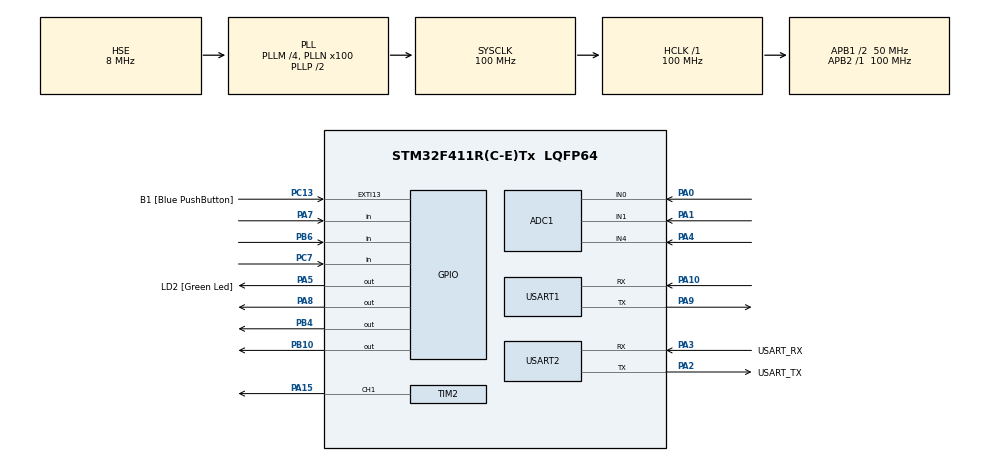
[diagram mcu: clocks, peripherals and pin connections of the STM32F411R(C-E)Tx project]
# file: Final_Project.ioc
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ADC1.Channel-0\#ChannelRegularConversion=ADC_CHANNEL_0
ADC1.Channel-3\#ChannelRegularConversion=ADC_CHANNEL_1
ADC1.Channel-4\#ChannelRegularConversion=ADC_CHANNEL_4
ADC1.NbrOfConversion=3
ADC1.NbrOfConversionFlag=1
ADC1.Rank-0\#ChannelRegularConversion=1
ADC1.Rank-3\#ChannelRegularConversion=2
ADC1.Rank-4\#ChannelRegularConversion=3
ADC1.SamplingTime-0\#ChannelRegularConversion=ADC_SAMPLETIME_3CYCLES
ADC1.SamplingTime-3\#ChannelRegularConversion=ADC_SAMPLETIME_3CYCLES
ADC1.SamplingTime-4\#ChannelRegularConversion=ADC_SAMPLETIME_3CYCLES
ADC1.ScanConvMode=ENABLE
ADC1.master=1
FREERTOS.Tasks01=defaultTask,0,128,StartDefaultTask,Default,NULL,Dynamic,NULL,NULL;myTask02,-3,128,StartTask02,Default,NULL,Dynamic,NULL,NULL
Mcu.Family=STM32F4
Mcu.Name=STM32F411R(C-E)Tx
Mcu.Package=LQFP64
NVIC.PriorityGroup=NVIC_PRIORITYGROUP_4
NVIC.USART1_IRQn=true\:5\:0\:false\:false\:true\:true\:true\:true\:true
PA0-WKUP.Signal=ADCx_IN0
PA1.Signal=ADCx_IN1
PA10.Mode=Asynchronous
PA10.Signal=USART1_RX
PA13.GPIO_Label=TMS
PA13.Mode=Serial_Wire
PA13.Signal=SYS_JTMS-SWDIO
PA14.GPIO_Label=TCK
PA14.Mode=Serial_Wire
PA14.Signal=SYS_JTCK-SWCLK
PA15.Signal=S_TIM2_CH1_ETR
PA2.GPIO_Label=USART_TX
PA2.Mode=Asynchronous
PA2.Signal=USART2_TX
PA3.GPIO_Label=USART_RX
PA3.Mode=Asynchronous
PA3.Signal=USART2_RX
PA4.Signal=ADCx_IN4
PA5.GPIO_Label=LD2 [Green Led]
PA5.Signal=GPIO_Output
PA7.Signal=GPIO_Input
PA8.Signal=GPIO_Output
PA9.Mode=Asynchronous
PA9.Signal=USART1_TX
PB10.Signal=GPIO_Output
PB3.GPIO_Label=SWO
PB3.Signal=SYS_JTDO-SWO
PB4.Signal=GPIO_Output
PB6.Signal=GPIO_Input
PC13-ANTI_TAMP.GPIO_Label=B1 [Blue PushButton]
PC13-ANTI_TAMP.GPIO_ModeDefaultEXTI=GPIO_MODE_IT_FALLING
PC13-ANTI_TAMP.Signal=GPXTI13
PC14-OSC32_IN.Mode=LSE-External-Oscillator
PC14-OSC32_IN.Signal=RCC_OSC32_IN
PC15-OSC32_OUT.Mode=LSE-External-Oscillator
PC15-OSC32_OUT.Signal=RCC_OSC32_OUT
PC7.Signal=GPIO_Input
PH0\ -\ OSC_IN.Mode=HSE-External-Oscillator
PH0\ -\ OSC_IN.Signal=RCC_OSC_IN
PH1\ -\ OSC_OUT.Mode=HSE-External-Oscillator
PH1\ -\ OSC_OUT.Signal=RCC_OSC_OUT
ProjectManager.HeapSize=0x200
ProjectManager.StackSize=0x400
ProjectManager.TargetToolchain=STM32CubeIDE
RCC.48MHZClocksFreq_Value=50000000
RCC.AHBFreq_Value=100000000
RCC.APB1CLKDivider=RCC_HCLK_DIV2
RCC.APB1Freq_Value=50000000
RCC.APB1TimFreq_Value=100000000
RCC.APB2Freq_Value=100000000
RCC.APB2TimFreq_Value=100000000
RCC.CortexFreq_Value=100000000
RCC.FLatency-AdvancedSettings=FLASH_LATENCY_3
RCC.HCLKFreq_Value=100000000
RCC.HSE_VALUE=8000000
RCC.HSI_VALUE=16000000
RCC.PLLM=4
RCC.PLLN=100
RCC.PLLSourceVirtual=RCC_PLLSOURCE_HSE
RCC.SYSCLKFreq_VALUE=100000000
RCC.SYSCLKSource=RCC_SYSCLKSOURCE_PLLCLK
RCC.VCOOutputFreq_Value=200000000
SH.ADCx_IN0.0=ADC1_IN0,IN0
SH.ADCx_IN1.0=ADC1_IN1,IN1
SH.ADCx_IN4.0=ADC1_IN4,IN4
SH.S_TIM2_CH1_ETR.0=TIM2_CH1,PWM Generation1 CH1
TIM1.Prescaler=100-1
TIM2.Channel-PWM\ Generation1\ CH1=TIM_CHANNEL_1
TIM2.Period=99
TIM2.Prescaler=83
USART1.VirtualMode=VM_ASYNC
USART2.VirtualMode=VM_ASYNC
VP_FREERTOS_VS_CMSIS_V1.Mode=CMSIS_V1
VP_TIM1_VS_ClockSourceINT.Mode=Internal
VP_TIM2_VS_ClockSourceINT.Mode=Internal
board=NUCLEO-F411RE

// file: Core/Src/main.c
/* USER CODE BEGIN Header */
/**
  ******************************************************************************
  * @file           : main.c
  * @brief          : Main program body
  ******************************************************************************
  * @attention
  *
  * Copyright (c) 2024 STMicroelectronics.
  * All rights reserved.
  *
  * This software is licensed under terms that can be found in the LICENSE file
  * in the root directory of this software component.
  * If no LICENSE file comes with this software, it is provided AS-IS.
  *
  ******************************************************************************
  */
/* USER CODE END Header */
#include "main.h"
#include "cmsis_os.h"

/* USER CODE BEGIN Includes */
#include "stdio.h"
#include "string.h"
/* USER CODE END Includes */

ADC_HandleTypeDef hadc1;

TIM_HandleTypeDef htim1;
TIM_HandleTypeDef htim2;

UART_HandleTypeDef huart1;
UART_HandleTypeDef huart2;

osThreadId defaultTaskHandle;
osThreadId myTask02Handle;
/* USER CODE BEGIN PV */
char msg[256];
// LDR
uint32_t lux1 = 0;
uint32_t lux2 = 0;
uint32_t lux3 = 0;
uint32_t lux_threshold = 0;
uint8_t lux1State = 0;
uint8_t lux2State = 0;
uint8_t lux3State = 0;
// Ultrasonic
uint32_t distance1  = 0;
uint32_t distance2  = 0;
uint32_t distance3  = 0;
uint32_t dist_threshold  = 0;
uint8_t dist1State = 0;
uint8_t dist2State = 0;
uint8_t dist3State = 0;
// Logic
uint8_t pair1State = 0;
uint8_t pair2State = 0;
uint8_t pair3State = 0;

uint8_t presentState = 0;
uint8_t oldState = 0;
uint8_t RxState = 0;
uint16_t state1CycleCount = 0;
uint16_t sentCount = 0;

/* USER CODE END PV */

void SystemClock_Config(void);
static void MX_GPIO_Init(void);
static void MX_USART2_UART_Init(void);
static void MX_ADC1_Init(void);
static void MX_TIM1_Init(void);
static void MX_USART1_UART_Init(void);
static void MX_TIM2_Init(void);
void StartDefaultTask(void const * argument);
void StartTask02(void const * argument);

/* USER CODE BEGIN 0 */

void configureADCChannel(uint32_t channel) {
    ADC_ChannelConfTypeDef sConfig = {0};
    sConfig.Channel = channel;
    sConfig.Rank = 1;
    sConfig.SamplingTime = ADC_SAMPLETIME_28CYCLES;
    if (HAL_ADC_ConfigChannel(&hadc1, &sConfig) != HAL_OK) {
        Error_Handler();
    }
}

uint32_t readADCValue(uint32_t channel) {
    configureADCChannel(channel);
    HAL_ADC_Start(&hadc1);
    HAL_ADC_PollForConversion(&hadc1, 1000);
    uint32_t value = HAL_ADC_GetValue(&hadc1);
    HAL_ADC_Stop(&hadc1);

    return value;
}

uint32_t measureDistance(GPIO_TypeDef* trigPort, uint16_t trigPin, GPIO_TypeDef* echoPort, uint16_t echoPin) {
    uint32_t pMillis = HAL_GetTick();
    uint32_t val1, val2;

    // Trigger
    HAL_GPIO_WritePin(trigPort, trigPin, GPIO_PIN_SET);
    __HAL_TIM_SET_COUNTER(&htim1, 0);
    while (__HAL_TIM_GET_COUNTER(&htim1) < 10);
    HAL_GPIO_WritePin(trigPort, trigPin, GPIO_PIN_RESET);

    // Echo
    	// rising edge
    pMillis = HAL_GetTick();
    while (!(HAL_GPIO_ReadPin(echoPort, echoPin)) && pMillis + 10 > HAL_GetTick());
    val1 = __HAL_TIM_GET_COUNTER(&htim1);
    	// falling edge
    pMillis = HAL_GetTick();
    while ((HAL_GPIO_ReadPin(echoPort, echoPin)) && pMillis + 50 > HAL_GetTick());
    val2 = __HAL_TIM_GET_COUNTER(&htim1);

    return (val2 - val1) * 0.034 / 2; // distance in centimeters
}

void printUART2(const char* prefix, uint32_t value) {
    sprintf(msg, "%s: %d\r\n", prefix, value);
    HAL_UART_Transmit(&huart2, (uint8_t*)msg, strlen(msg), 1000);
}

void HAL_UART_TxCpltCallback(UART_HandleTypeDef *huart)
{
	sentCount++;
}

/* USER CODE END 0 */

int main(void)
{

  /* MCU Configuration--------------------------------------------------------*/

  /* Reset of all peripherals, Initializes the Flash interface and the Systick. */
  HAL_Init();

  /* Configure the system clock */
  SystemClock_Config();

  /* Initialize all configured peripherals */
  MX_GPIO_Init();
  MX_USART2_UART_Init();
  MX_ADC1_Init();
  MX_TIM1_Init();
  MX_USART1_UART_Init();
  MX_TIM2_Init();
  /* USER CODE BEGIN 2 */
  HAL_TIM_Base_Start(&htim1);
  HAL_TIM_PWM_Start(&htim2, TIM_CHANNEL_1);
  TIM2->CCR1 = 0;

  HAL_GPIO_WritePin(GPIOA, GPIO_PIN_8, GPIO_PIN_RESET);
  HAL_GPIO_WritePin(GPIOB, GPIO_PIN_10, GPIO_PIN_RESET);
  HAL_GPIO_WritePin(GPIOB, GPIO_PIN_4, GPIO_PIN_RESET);

  // initial 0 state
  HAL_UART_Transmit_IT(&huart1, &presentState, sizeof(presentState));

  /* USER CODE END 2 */

  /* Create the thread(s) */
  /* definition and creation of defaultTask */
  osThreadDef(defaultTask, StartDefaultTask, osPriorityNormal, 0, 128);
  defaultTaskHandle = osThreadCreate(osThread(defaultTask), NULL);

  /* definition and creation of myTask02 */
  osThreadDef(myTask02, StartTask02, osPriorityIdle, 0, 128);
  myTask02Handle = osThreadCreate(osThread(myTask02), NULL);

  /* Start scheduler */
  osKernelStart();

  /* We should never get here as control is now taken by the scheduler */
  /* Infinite loop */
  /* USER CODE BEGIN WHILE */
  while (1)
  {
	  // use Thread instead
    /* USER CODE END WHILE */

  }
}

void SystemClock_Config(void)
{
  RCC_OscInitTypeDef RCC_OscInitStruct = {0};
  RCC_ClkInitTypeDef RCC_ClkInitStruct = {0};

  /** Configure the main internal regulator output voltage
  */
  __HAL_RCC_PWR_CLK_ENABLE();
  __HAL_PWR_VOLTAGESCALING_CONFIG(PWR_REGULATOR_VOLTAGE_SCALE1);

  /** Initializes the RCC Oscillators according to the specified parameters
  * in the RCC_OscInitTypeDef structure.
  */
  RCC_OscInitStruct.OscillatorType = RCC_OSCILLATORTYPE_HSE;
  RCC_OscInitStruct.HSEState = RCC_HSE_ON;
  RCC_OscInitStruct.PLL.PLLState = RCC_PLL_ON;
  RCC_OscInitStruct.PLL.PLLSource = RCC_PLLSOURCE_HSE;
  RCC_OscInitStruct.PLL.PLLM = 4;
  RCC_OscInitStruct.PLL.PLLN = 100;
  RCC_OscInitStruct.PLL.PLLP = RCC_PLLP_DIV2;
  RCC_OscInitStruct.PLL.PLLQ = 4;
  if (HAL_RCC_OscConfig(&RCC_OscInitStruct) != HAL_OK)
  {
    Error_Handler();
  }

  /** Initializes the CPU, AHB and APB buses clocks
  */
  RCC_ClkInitStruct.ClockType = RCC_CLOCKTYPE_HCLK|RCC_CLOCKTYPE_SYSCLK
                              |RCC_CLOCKTYPE_PCLK1|RCC_CLOCKTYPE_PCLK2;
  RCC_ClkInitStruct.SYSCLKSource = RCC_SYSCLKSOURCE_PLLCLK;
  RCC_ClkInitStruct.AHBCLKDivider = RCC_SYSCLK_DIV1;
  RCC_ClkInitStruct.APB1CLKDivider = RCC_HCLK_DIV2;
  RCC_ClkInitStruct.APB2CLKDivider = RCC_HCLK_DIV1;

  if (HAL_RCC_ClockConfig(&RCC_ClkInitStruct, FLASH_LATENCY_3) != HAL_OK)
  {
    Error_Handler();
  }
}

static void MX_ADC1_Init(void)
{

  ADC_ChannelConfTypeDef sConfig = {0};

  /** Configure the global features of the ADC (Clock, Resolution, Data Alignment and number of conversion)
  */
  hadc1.Instance = ADC1;
  hadc1.Init.ClockPrescaler = ADC_CLOCK_SYNC_PCLK_DIV4;
  hadc1.Init.Resolution = ADC_RESOLUTION_12B;
  hadc1.Init.ScanConvMode = ENABLE;
  hadc1.Init.ContinuousConvMode = DISABLE;
  hadc1.Init.DiscontinuousConvMode = DISABLE;
  hadc1.Init.ExternalTrigConvEdge = ADC_EXTERNALTRIGCONVEDGE_NONE;
  hadc1.Init.ExternalTrigConv = ADC_SOFTWARE_START;
  hadc1.Init.DataAlign = ADC_DATAALIGN_RIGHT;
  hadc1.Init.NbrOfConversion = 3;
  hadc1.Init.DMAContinuousRequests = DISABLE;
  hadc1.Init.EOCSelection = ADC_EOC_SINGLE_CONV;
  if (HAL_ADC_Init(&hadc1) != HAL_OK)
  {
    Error_Handler();
  }

  /** Configure for the selected ADC regular channel its corresponding rank in the sequencer and its sample time.
  */
  sConfig.Channel = ADC_CHANNEL_0;
  sConfig.Rank = 1;
  sConfig.SamplingTime = ADC_SAMPLETIME_3CYCLES;
  if (HAL_ADC_ConfigChannel(&hadc1, &sConfig) != HAL_OK)
  {
    Error_Handler();
  }

  /** Configure for the selected ADC regular channel its corresponding rank in the sequencer and its sample time.
  */
  sConfig.Channel = ADC_CHANNEL_1;
  sConfig.Rank = 2;
  if (HAL_ADC_ConfigChannel(&hadc1, &sConfig) != HAL_OK)
  {
    Error_Handler();
  }

  /** Configure for the selected ADC regular channel its corresponding rank in the sequencer and its sample time.
  */
  sConfig.Channel = ADC_CHANNEL_4;
  sConfig.Rank = 3;
  if (HAL_ADC_ConfigChannel(&hadc1, &sConfig) != HAL_OK)
  {
    Error_Handler();
  }

}

static void MX_TIM1_Init(void)
{

  TIM_ClockConfigTypeDef sClockSourceConfig = {0};
  TIM_MasterConfigTypeDef sMasterConfig = {0};

  htim1.Instance = TIM1;
  htim1.Init.Prescaler = 100-1;
  htim1.Init.CounterMode = TIM_COUNTERMODE_UP;
  htim1.Init.Period = 65535;
  htim1.Init.ClockDivision = TIM_CLOCKDIVISION_DIV1;
  htim1.Init.RepetitionCounter = 0;
  htim1.Init.AutoReloadPreload = TIM_AUTORELOAD_PRELOAD_DISABLE;
  if (HAL_TIM_Base_Init(&htim1) != HAL_OK)
  {
    Error_Handler();
  }
  sClockSourceConfig.ClockSource = TIM_CLOCKSOURCE_INTERNAL;
  if (HAL_TIM_ConfigClockSource(&htim1, &sClockSourceConfig) != HAL_OK)
  {
    Error_Handler();
  }
  sMasterConfig.MasterOutputTrigger = TIM_TRGO_RESET;
  sMasterConfig.MasterSlaveMode = TIM_MASTERSLAVEMODE_DISABLE;
  if (HAL_TIMEx_MasterConfigSynchronization(&htim1, &sMasterConfig) != HAL_OK)
  {
    Error_Handler();
  }

}

static void MX_TIM2_Init(void)
{

  TIM_ClockConfigTypeDef sClockSourceConfig = {0};
  TIM_MasterConfigTypeDef sMasterConfig = {0};
  TIM_OC_InitTypeDef sConfigOC = {0};

  htim2.Instance = TIM2;
  htim2.Init.Prescaler = 83;
  htim2.Init.CounterMode = TIM_COUNTERMODE_UP;
  htim2.Init.Period = 99;
  htim2.Init.ClockDivision = TIM_CLOCKDIVISION_DIV1;
  htim2.Init.AutoReloadPreload = TIM_AUTORELOAD_PRELOAD_DISABLE;
  if (HAL_TIM_Base_Init(&htim2) != HAL_OK)
  {
    Error_Handler();
  }
  sClockSourceConfig.ClockSource = TIM_CLOCKSOURCE_INTERNAL;
  if (HAL_TIM_ConfigClockSource(&htim2, &sClockSourceConfig) != HAL_OK)
  {
    Error_Handler();
  }
  if (HAL_TIM_PWM_Init(&htim2) != HAL_OK)
  {
    Error_Handler();
  }
  sMasterConfig.MasterOutputTrigger = TIM_TRGO_RESET;
  sMasterConfig.MasterSlaveMode = TIM_MASTERSLAVEMODE_DISABLE;
  if (HAL_TIMEx_MasterConfigSynchronization(&htim2, &sMasterConfig) != HAL_OK)
  {
    Error_Handler();
  }
  sConfigOC.OCMode = TIM_OCMODE_PWM1;
  sConfigOC.Pulse = 0;
  sConfigOC.OCPolarity = TIM_OCPOLARITY_HIGH;
  sConfigOC.OCFastMode = TIM_OCFAST_DISABLE;
  if (HAL_TIM_PWM_ConfigChannel(&htim2, &sConfigOC, TIM_CHANNEL_1) != HAL_OK)
  {
    Error_Handler();
  }
  HAL_TIM_MspPostInit(&htim2);

}

static void MX_USART1_UART_Init(void)
{

  huart1.Instance = USART1;
  huart1.Init.BaudRate = 115200;
  huart1.Init.WordLength = UART_WORDLENGTH_8B;
  huart1.Init.StopBits = UART_STOPBITS_1;
  huart1.Init.Parity = UART_PARITY_NONE;
  huart1.Init.Mode = UART_MODE_TX_RX;
  huart1.Init.HwFlowCtl = UART_HWCONTROL_NONE;
  huart1.Init.OverSampling = UART_OVERSAMPLING_16;
  if (HAL_UART_Init(&huart1) != HAL_OK)
  {
    Error_Handler();
  }

}

static void MX_USART2_UART_Init(void)
{

  huart2.Instance = USART2;
  huart2.Init.BaudRate = 115200;
  huart2.Init.WordLength = UART_WORDLENGTH_8B;
  huart2.Init.StopBits = UART_STOPBITS_1;
  huart2.Init.Parity = UART_PARITY_NONE;
  huart2.Init.Mode = UART_MODE_TX_RX;
  huart2.Init.HwFlowCtl = UART_HWCONTROL_NONE;
  huart2.Init.OverSampling = UART_OVERSAMPLING_16;
  if (HAL_UART_Init(&huart2) != HAL_OK)
  {
    Error_Handler();
  }

}

static void MX_GPIO_Init(void)
{
  GPIO_InitTypeDef GPIO_InitStruct = {0};

  /* GPIO Ports Clock Enable */
  __HAL_RCC_GPIOC_CLK_ENABLE();
  __HAL_RCC_GPIOH_CLK_ENABLE();
  __HAL_RCC_GPIOA_CLK_ENABLE();
  __HAL_RCC_GPIOB_CLK_ENABLE();

  /*Configure GPIO pin Output Level */
  HAL_GPIO_WritePin(GPIOA, LD2_Pin|GPIO_PIN_8, GPIO_PIN_RESET);

  /*Configure GPIO pin Output Level */
  HAL_GPIO_WritePin(GPIOB, GPIO_PIN_10|GPIO_PIN_4, GPIO_PIN_RESET);

  /*Configure GPIO pin : B1_Pin */
  GPIO_InitStruct.Pin = B1_Pin;
  GPIO_InitStruct.Mode = GPIO_MODE_IT_FALLING;
  GPIO_InitStruct.Pull = GPIO_NOPULL;
  HAL_GPIO_Init(B1_GPIO_Port, &GPIO_InitStruct);

  /*Configure GPIO pins : LD2_Pin PA8 */
  GPIO_InitStruct.Pin = LD2_Pin|GPIO_PIN_8;
  GPIO_InitStruct.Mode = GPIO_MODE_OUTPUT_PP;
  GPIO_InitStruct.Pull = GPIO_NOPULL;
  GPIO_InitStruct.Speed = GPIO_SPEED_FREQ_LOW;
  HAL_GPIO_Init(GPIOA, &GPIO_InitStruct);

  /*Configure GPIO pin : PA7 */
  GPIO_InitStruct.Pin = GPIO_PIN_7;
  GPIO_InitStruct.Mode = GPIO_MODE_INPUT;
  GPIO_InitStruct.Pull = GPIO_NOPULL;
  HAL_GPIO_Init(GPIOA, &GPIO_InitStruct);

  /*Configure GPIO pins : PB10 PB4 */
  GPIO_InitStruct.Pin = GPIO_PIN_10|GPIO_PIN_4;
  GPIO_InitStruct.Mode = GPIO_MODE_OUTPUT_PP;
  GPIO_InitStruct.Pull = GPIO_NOPULL;
  GPIO_InitStruct.Speed = GPIO_SPEED_FREQ_LOW;
  HAL_GPIO_Init(GPIOB, &GPIO_InitStruct);

  /*Configure GPIO pin : PC7 */
  GPIO_InitStruct.Pin = GPIO_PIN_7;
  GPIO_InitStruct.Mode = GPIO_MODE_INPUT;
  GPIO_InitStruct.Pull = GPIO_NOPULL;
  HAL_GPIO_Init(GPIOC, &GPIO_InitStruct);

  /*Configure GPIO pin : PB6 */
  GPIO_InitStruct.Pin = GPIO_PIN_6;
  GPIO_InitStruct.Mode = GPIO_MODE_INPUT;
  GPIO_InitStruct.Pull = GPIO_NOPULL;
  HAL_GPIO_Init(GPIOB, &GPIO_InitStruct);

}

void StartDefaultTask(void const * argument)
{
  /* USER CODE BEGIN 5 */
  /* Infinite loop */
  for(;;)
  {
	  // LDR sensors
	  lux1 = readADCValue(ADC_CHANNEL_0);
	  lux2 = readADCValue(ADC_CHANNEL_1);
	  lux3 = readADCValue(ADC_CHANNEL_4);

	  // Ultrasonic sensors
	  distance1 = measureDistance(GPIOA, GPIO_PIN_8, GPIOA, GPIO_PIN_7);
	  osDelay(60);
	  distance2 = measureDistance(GPIOB, GPIO_PIN_10, GPIOB, GPIO_PIN_6);
	  osDelay(60);
	  distance3 = measureDistance(GPIOB, GPIO_PIN_4, GPIOC, GPIO_PIN_7);

	  // Logic
		  // LDR
	  lux_threshold = 3500;
	  lux1State = (lux1 < lux_threshold) ? 1 : 0;
	  lux2State = (lux2 < lux_threshold) ? 1 : 0;
	  lux3State = (lux3 < lux_threshold) ? 1 : 0;
		  // Ultrasonic
	  dist_threshold = 10;
	  dist1State = (distance1 < dist_threshold) ? 1 : 0;
	  dist2State = (distance2 < dist_threshold) ? 1 : 0;
	  dist3State = (distance3 < dist_threshold) ? 1 : 0;
		  // pair
	  pair1State = (lux1State && dist1State) ? 1 : 0;
	  pair2State = (lux2State && dist2State) ? 1 : 0;
	  pair3State = (lux3State && dist3State) ? 1 : 0;
		  // calculate
	  oldState = presentState;
	  uint8_t sumPairState = pair1State + pair2State + pair3State;
	  if (sumPairState >= 2) {
		  presentState = 1;
		  HAL_GPIO_WritePin(GPIOA, GPIO_PIN_5, GPIO_PIN_SET);
		  state1CycleCount++;
		  if (state1CycleCount == 5) {
			  HAL_UART_Transmit_IT(&huart1, &presentState, sizeof(presentState));
			  RxState = presentState;
		  }
		  if (state1CycleCount >= 5) {

		  }
	  }
	  else {
		  presentState = 0;
		  HAL_GPIO_WritePin(GPIOA, GPIO_PIN_5, GPIO_PIN_RESET);
		  state1CycleCount = 0;
		  // falling edge
		  if (oldState == 1 && presentState == 0) {
			  if (presentState != RxState) {
				  HAL_UART_Transmit_IT(&huart1, &presentState, sizeof(presentState));
				  RxState = presentState;
			  }
		  }
	  }

	  // print via UART2
	  printUART2("lux1", lux1);
	  printUART2("lux2", lux2);
	  printUART2("lux3", lux3);
	  printUART2("distance1", distance1);
	  printUART2("distance2", distance2);
	  printUART2("distance3", distance3);

	  printUART2("oldState", oldState);
	  printUART2("presentState", presentState);
	  printUART2("state1CycleCount", state1CycleCount);
	  printUART2("RxState", RxState);
	  printUART2("sentCount", sentCount);

	  osDelay(1000);
  }
  /* USER CODE END 5 */
}

void StartTask02(void const * argument)
{
  /* USER CODE BEGIN StartTask02 */
  /* Infinite loop */

  for(;;)
  {
	  if (presentState == 1 && state1CycleCount >= 5) {
		  TIM2->CCR1 = 50;
	  }
	  else TIM2->CCR1 = 0;
  }
  /* USER CODE END StartTask02 */
}

void Error_Handler(void)
{
  __disable_irq();
  while (1)
  {
  }
}
